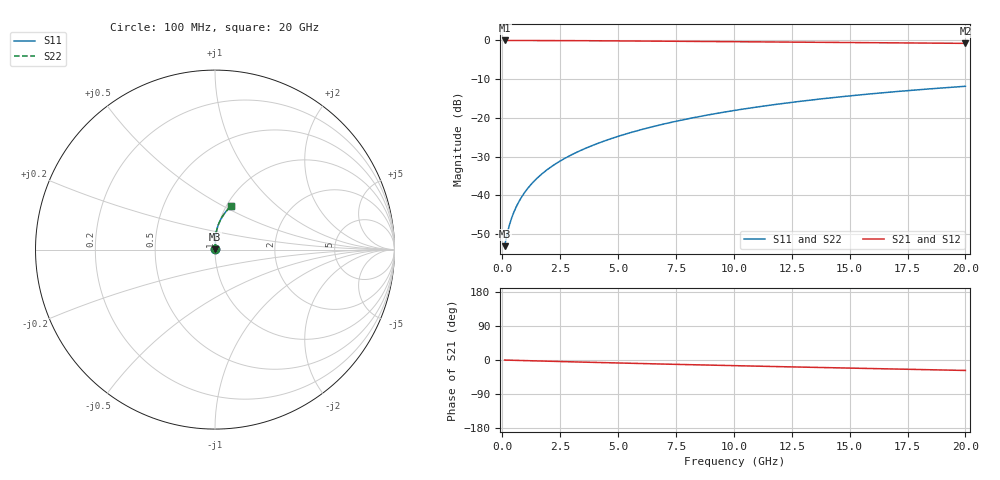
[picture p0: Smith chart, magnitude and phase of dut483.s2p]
! Touchstone file exported from HFSS 2024.1.0
!  File:  C:/UserFiles/LocalFiles/RDL_TSV_Batchsim/temp_RDL_bottom_483_1779686496.aedt
!  Generated:  01:23:56 PM May 25, 2026
!  Design:  RDL_bottom
!  Project:  temp_RDL_bottom_483_1779686496
!  Setup:  Setup1
!  Solution:  Sweep
! Variables:
!  dtsv = 10.80580581um
!  hbump = 3um
!  htsv = 92.89um
!  ldown = 381.6um
!  lrdl = 100um
!  p = 40
!  p1 = 48.66um
!  rhole = 1um
!  t = 450um
!  tdown = 3.48um
!  trdl = 3.915915916um
!  wdown = 24.17um
!  wrdl = 20um
# GHz S MA R 50.000000
! Terminal data exported
! Port[1] = RDL1_T1
! Port[2] = RDL1_T2
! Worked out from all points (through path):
!   200 points, 100 MHz to 20 GHz, reference 50 ohm
!   highest |S21| = -0.02 dB at 100 MHz (marker M1); lowest = -0.8 dB at 20 GHz (marker M2)
!   group delay of S21, straight-line fit = 3.79 ps
!   lowest |S11| = -53.1 dB at 100 MHz (marker M3), VSWR 1.00, Z = 50.2 + j0.124 ohm
!   |S11| at or under -10 dB: start of sweep to end of sweep
!   |S22| runs from -53.1 to -11.8 dB; largest |S21 - S12| = 2.3e-15
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0.1  0.002217 33.9  0.9982 -0.2  0.9982 -0.2  0.002217 33.9
! Gamma 0 0 0 0
! Port Impedance 50 0 50 0
0.2  0.003098 51.3  0.998 -0.3  0.998 -0.3  0.003098 51.3
0.3  0.00408 60.1  0.9979 -0.5  0.9979 -0.5  0.00408 60.1
0.4  0.00508 65.5  0.9978 -0.7  0.9978 -0.7  0.00508 65.5
0.5  0.006089 69.2  0.9977 -0.8  0.9977 -0.8  0.006089 69.2
0.6  0.007109 72.1  0.9975 -1.0  0.9975 -1.0  0.007109 72.1
0.8  0.009178 76.0  0.9973 -1.3  0.9973 -1.3  0.009179 76.0
1.1  0.01235 79.7  0.997 -1.8  0.997 -1.8  0.01235 79.7
1.3  0.0145 81.3  0.9967 -2.1  0.9967 -2.1  0.0145 81.3
1.6  0.01776 83.1  0.9962 -2.6  0.9962 -2.6  0.01776 83.1
2.1  0.0233 85.0  0.9952 -3.4  0.9952 -3.4  0.0233 85.0
2.7  0.0301 86.4  0.9936 -4.4  0.9936 -4.4  0.0301 86.3
3.5  0.03944 87.3  0.9911 -5.6  0.9911 -5.6  0.03944 87.3
4.2  0.04787 87.7  0.9886 -6.7  0.9886 -6.7  0.04787 87.7
5  0.05781 87.8  0.9854 -7.9  0.9854 -7.9  0.0578 87.8
6.8  0.08113 87.0  0.9774 -10.5  0.9774 -10.5  0.08111 87.0
8.4  0.1027 85.6  0.97 -12.8  0.97 -12.8  0.1026 85.6
10.1  0.1259 83.6  0.9619 -15.1  0.9619 -15.1  0.1259 83.6
11.7  0.1479 81.5  0.9544 -17.2  0.9544 -17.2  0.1478 81.5
13.4  0.171 79.2  0.9465 -19.4  0.9465 -19.4  0.1709 79.2
16.7  0.2146 74.5  0.9311 -23.5  0.9311 -23.5  0.2146 74.5
20  0.256 70.0  0.9157 -27.6  0.9157 -27.6  0.2559 70.0
